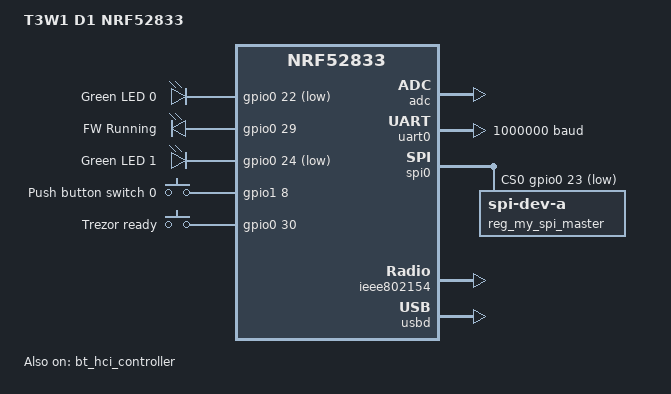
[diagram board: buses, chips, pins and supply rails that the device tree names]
/*
 * Copyright (c) 2019 Nordic Semiconductor ASA
 *
 * SPDX-License-Identifier: Apache-2.0
 */

/dts-v1/;
#include <nordic/nrf52833_qiaa.dtsi>
#include "t3w1_d1_nrf52833-pinctrl.dtsi"
#include <zephyr/dt-bindings/input/input-event-codes.h>

/ {
	model = "T3W1 D1 NRF52833";
	compatible = "nordic,t3w1_d1_nrf52833";

	chosen {
		zephyr,console = &uart0;
		zephyr,shell-uart = &uart0;
		zephyr,uart-mcumgr = &uart0;
		zephyr,bt-mon-uart = &uart0;
		zephyr,bt-c2h-uart = &uart0;
		zephyr,sram = &sram0;
		zephyr,flash = &flash0;
		zephyr,code-partition = &slot0_partition;
		zephyr,ieee802154 = &ieee802154;
                zephyr,bt-hci = &bt_hci_controller;
	};

	leds {
		compatible = "gpio-leds";
		led0: led_0 {
			gpios = <&gpio0 22 GPIO_ACTIVE_LOW>;
			label = "Green LED 0";
		};
		out0: out_0 {
			gpios = <&gpio0 29 GPIO_ACTIVE_HIGH>;
			label = "FW Running";
		};
		led1: led_1 {
			gpios = <&gpio0 24 GPIO_ACTIVE_LOW>;
			label = "Green LED 1";
		};
	};

	buttons {
		compatible = "gpio-keys";
		button0: button_0 {
			gpios = <&gpio1 8 (GPIO_PULL_DOWN | GPIO_ACTIVE_HIGH)>;
			label = "Push button switch 0";
			zephyr,code = <INPUT_KEY_0>;
		};
		trezor_ready: trezor_ready {
			gpios = <&gpio0 30 (GPIO_PULL_DOWN | GPIO_ACTIVE_HIGH)>;
			label = "Trezor ready";
			zephyr,code = <INPUT_KEY_1>;
		};
	};

	/* These aliases are provided for compatibility with samples */
	aliases {
		led0 = &led0;
		led1 = &led1;
		sw0 = &button0;
		bootloader-led0 = &led0;
		mcuboot-button0 = &button0;
		mcuboot-led0 = &led0;
		watchdog0 = &wdt0;
	};
};

&bt_hci_sdc {
    status = "disabled";
};

&bt_hci_controller {
    status = "okay";
};

&adc {
	status = "okay";
};

&uicr {
	gpio-as-nreset;
};

&gpiote {
	status = "okay";
};

&gpio0 {
	status = "okay";
};

&gpio1 {
	status = "okay";
};

&uart0 {
	compatible = "nordic,nrf-uarte";
	status = "okay";
	current-speed = <1000000>;
	pinctrl-0 = <&uart0_default>;
	pinctrl-1 = <&uart0_sleep>;
	pinctrl-names = "default", "sleep";
	hw-flow-control;
};

&spi0 {
	compatible = "nordic,nrf-spim";
	status = "okay";
	pinctrl-0 = <&spi0_default>;
	pinctrl-1 = <&spi0_sleep>;
	pinctrl-names = "default", "sleep";
	cs-gpios = <&gpio0 23 GPIO_ACTIVE_LOW>;
	reg_my_spi_master: spi-dev-a@0 {
		reg = <0>;
	};
};

&ieee802154 {
	status = "okay";
};

&flash0 {

	partitions {
		compatible = "fixed-partitions";
		#address-cells = <1>;
		#size-cells = <1>;

		boot_partition: partition@0 {
			label = "mcuboot";
			reg = <0x00000000 0xC000>;
		};
		slot0_partition: partition@c000 {
			label = "image-0";
			reg = <0x0000C000 0x37000>;
		};
		slot1_partition: partition@43000 {
			label = "image-1";
			reg = <0x00043000 0x37000>;
		};
		storage_partition: partition@7a000 {
			label = "storage";
			reg = <0x0007A000 0x00006000>;
		};
	};
};

zephyr_udc0: &usbd {
	compatible = "nordic,nrf-usbd";
	status = "okay";
};
